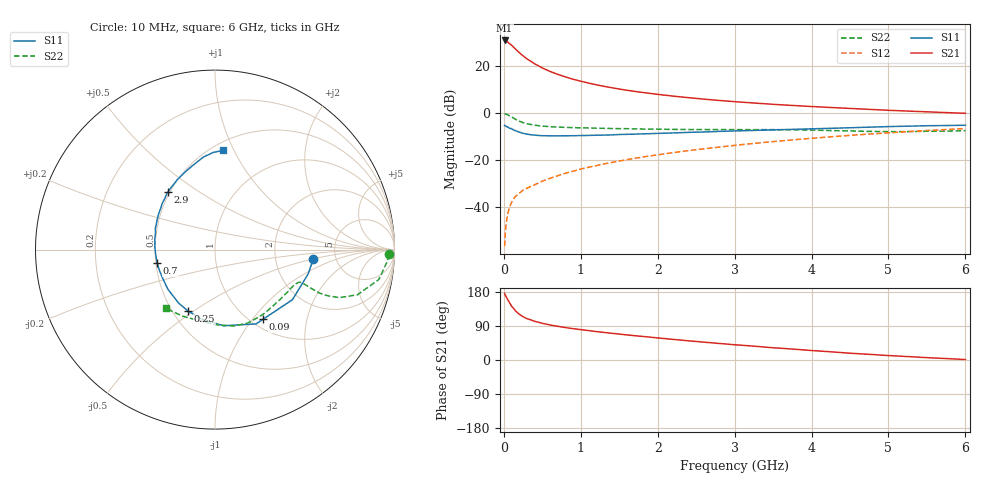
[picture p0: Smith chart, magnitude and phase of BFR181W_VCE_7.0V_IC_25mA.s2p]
! Infineon Technologies  Discrete & RF Semiconductors
! BFR181W
! VCE =  7.0 V,  IC =  25 mA
! Common Emitter S-Parameters:  Jan 2017
# GHz  S  MA  R  50
!  f  S11  S21  S12  S22
! GHz  MAG  ANG  MAG  ANG  MAG  ANG  MAG  ANG
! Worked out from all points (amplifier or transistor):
!   77 points, 10 MHz to 6 GHz, reference 50 ohm
!   highest |S21| = 30.9 dB at 10 MHz (marker M1)
!   |S21| within 3 dB of that: start of sweep to 131.5 MHz
!   unconditionally stable (mu >= 1): 563.8 MHz to 2.443 GHz
!   at 130 MHz: K = 0.46, MSG = 32.1 dB, |S12| = -36.3 dB
!   at 2.2 GHz: K = 1.03, MAG = 11.0 dB, |S12| = -16.8 dB
!   at 6 GHz: K = 0.83, MSG = 3.2 dB, |S12| = -6.5 dB
!   S11 on the Smith chart (normalised r, x): 10 MHz: 3.36, -0.51; 90 MHz: 1.14, -1.13; 250 MHz: 0.60, -0.47; 700 MHz: 0.51, -0.09; 2.9 GHz: 0.49, +0.38; 6 GHz: 0.57, +0.91
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0.01  0.55 -5.5  35.03 175.7  0.0015 88.1  0.9671 -1.6
0.02  0.5369 -14.5  34.34 171.0  0.003 92.1  0.9625 -3.9
0.05  0.5139 -32.9  32.58 159.2  0.0072 80.3  0.9273 -10.4
0.09  0.4715 -55.2  28.59 145.9  0.0116 70.8  0.8506 -16.0
0.1  0.473 -61.1  27.88 142.0  0.0127 69.5  0.8328 -17.6
0.15  0.4268 -83.7  23.21 129.9  0.017 65.2  0.7438 -21.1
0.2  0.3957 -100.1  19.37 120.8  0.0199 65.3  0.6772 -22.3
0.25  0.3736 -113.8  16.51 114.2  0.0232 63.0  0.6308 -22.6
0.3  0.3601 -124.4  14.25 109.2  0.0255 63.8  0.5962 -22.2
0.4  0.343 -139.8  11.19 102.0  0.0301 66.3  0.5555 -21.5
0.5  0.3329 -150.7  9.123 96.8  0.036 67.8  0.5319 -21.1
0.6  0.3307 -160.0  7.716 92.5  0.0415 69.7  0.517 -20.9
0.7  0.3306 -166.8  6.674 88.9  0.047 71.5  0.507 -21.0
0.9  0.3325 -177.6  5.259 82.7  0.0585 73.3  0.4933 -22.3
1.1  0.3369 173.8  4.362 77.7  0.0711 74.8  0.4849 -24.0
1.5  0.3529 160.4  3.26 68.5  0.0963 75.6  0.4701 -28.9
2.1  0.3762 144.8  2.405 56.4  0.1378 74.3  0.455 -38.9
2.9  0.4151 129.0  1.81 42.0  0.1988 70.4  0.4481 -54.5
3.1  0.4236 125.2  1.712 38.8  0.2154 69.0  0.447 -58.4
4.1  0.4701 108.9  1.36 23.7  0.3016 61.1  0.4338 -78.3
5.1  0.5236 95.9  1.135 10.7  0.3916 51.4  0.4057 -104.8
6  0.5545 85.2  0.994 1.3  0.4724 41.6  0.426 -129.8
